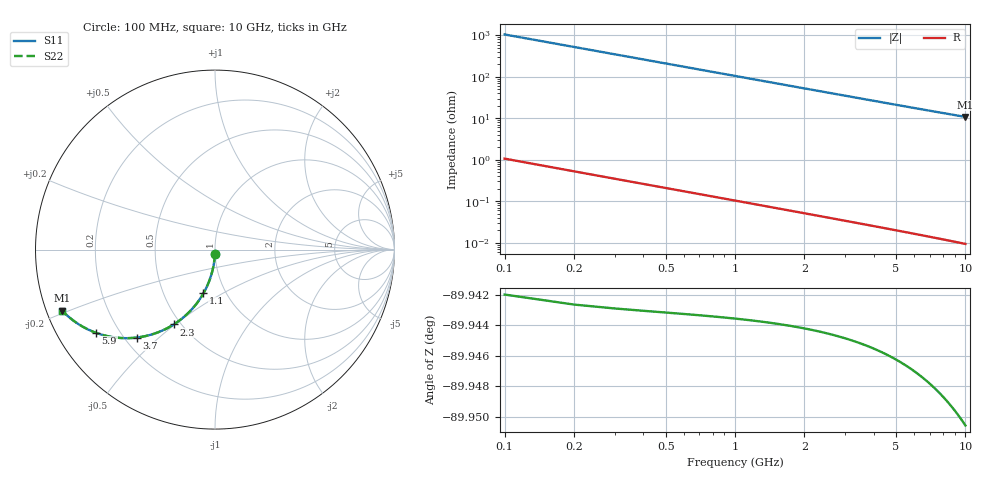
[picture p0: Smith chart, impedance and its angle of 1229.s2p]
# Hz S RI R 50.00
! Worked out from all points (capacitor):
!   100 points, 100 MHz to 10 GHz, reference 50 ohm
!   read as one part in shunt: C = 1.51 pF near 100 MHz
!   lowest |Z| = 10.8 ohm at 10 GHz (marker M1)
!   S11 on the Smith chart (normalised r, x): 100 MHz: 1.00, -0.05; 1.1 GHz: 0.79, -0.41; 2.3 GHz: 0.46, -0.49; 3.7 GHz: 0.25, -0.43; 5.9 GHz: 0.12, -0.31; 10 GHz: 0.05, -0.19
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1e8  -0.000532 -0.0236  0.9994 -0.0239  0.9994 -0.0239  -0.000532 -0.0236
2e8  -0.00225 -0.0471  0.9976 -0.0477  0.9976 -0.0477  -0.00225 -0.0471
3e8  -0.00507 -0.0705  0.9948 -0.0714  0.9948 -0.0714  -0.00507 -0.0705
4e8  -0.00899 -0.0936  0.9909 -0.0948  0.9909 -0.0948  -0.00899 -0.0936
5e8  -0.014 -0.1164  0.9859 -0.1179  0.9859 -0.1179  -0.014 -0.1164
6e8  -0.02 -0.1389  0.9799 -0.1406  0.9799 -0.1406  -0.02 -0.1389
7e8  -0.027 -0.1608  0.9729 -0.1628  0.9729 -0.1628  -0.027 -0.1608
9e8  -0.0439 -0.2032  0.956 -0.2058  0.956 -0.2058  -0.0439 -0.2032
1.1e9  -0.0641 -0.243  0.9358 -0.2462  0.9358 -0.2462  -0.0641 -0.243
1.4e9  -0.0999 -0.2974  0.9 -0.3014  0.9 -0.3014  -0.0999 -0.2974
1.8e9  -0.1549 -0.3588  0.845 -0.364  0.845 -0.364  -0.1549 -0.3588
2.3e9  -0.2303 -0.4172  0.7696 -0.4239  0.7696 -0.4239  -0.2303 -0.4172
2.8e9  -0.3071 -0.4568  0.6927 -0.4649  0.6927 -0.4649  -0.3071 -0.4568
3.4e9  -0.3952 -0.4835  0.6046 -0.4933  0.6046 -0.4933  -0.3952 -0.4835
3.7e9  -0.4363 -0.4901  0.5635 -0.5008  0.5635 -0.5008  -0.4363 -0.4901
4.4e9  -0.5226 -0.4926  0.4772 -0.5054  0.4772 -0.5054  -0.5226 -0.4926
5.1e9  -0.5954 -0.4829  0.4044 -0.4977  0.4044 -0.4977  -0.5954 -0.4829
5.9e9  -0.6634 -0.4634  0.3363 -0.4806  0.3363 -0.4806  -0.6634 -0.4634
6.7e9  -0.7179 -0.4396  0.2818 -0.4593  0.2818 -0.4593  -0.7179 -0.4396
7.5e9  -0.7615 -0.4145  0.2381 -0.4366  0.2381 -0.4366  -0.7615 -0.4145
8.4e9  -0.8005 -0.3865  0.1991 -0.4114  0.1991 -0.4114  -0.8005 -0.3865
1e10  -0.8509 -0.3404  0.1485 -0.3702  0.1485 -0.3702  -0.8509 -0.3404
